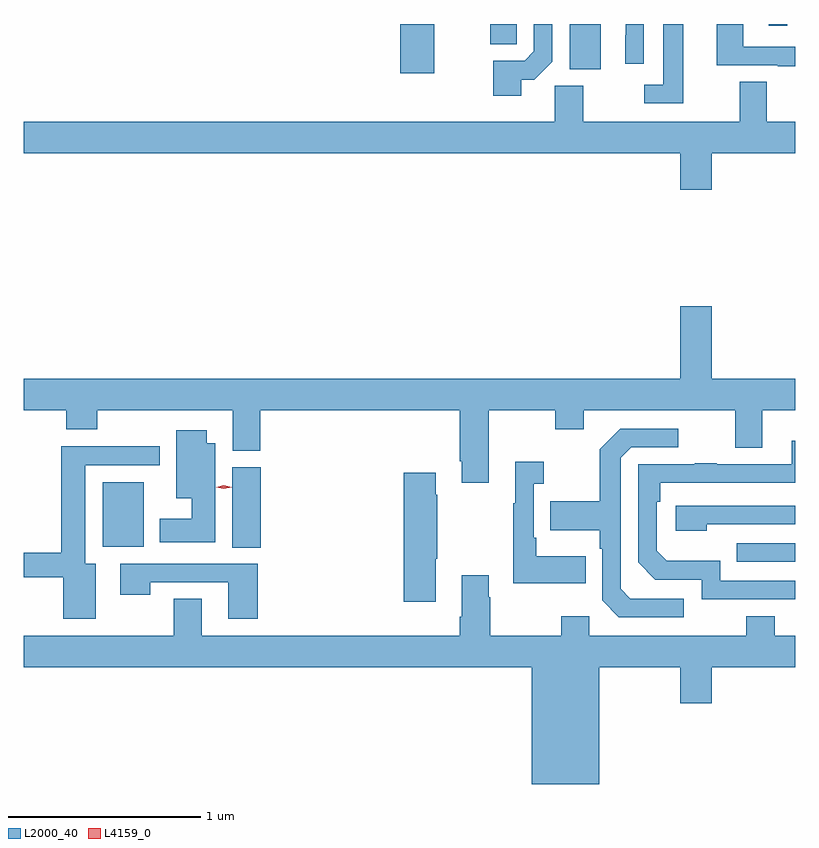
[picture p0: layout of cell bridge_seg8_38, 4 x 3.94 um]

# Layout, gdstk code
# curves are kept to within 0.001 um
import gdstk
lib = gdstk.Library(unit=1e-6, precision=1e-09)
def R(c, l, rs):  # rectangles x0, y0, x1, y1
    for r in rs: c.add(gdstk.rectangle(r[:2], r[2:], *l))
def P(c, l, *ps):  # polygons
    for p in ps: c.add(gdstk.Polygon(p, *l))
L2000_40 = (2000, 40)
L4159_0 = (4159, 0)

bridge_seg8_38 = lib.new_cell('bridge_seg8_38')
R(bridge_seg8_38, L2000_40, [(1076.389,1161.003,1076.693,1161.099), (1073.774,1161.076,1073.921,1161.492), (1073.102,1161.08,1073.314,1161.415), (1074.644,1163.535,1074.822,1163.791), (1075.523,1163.557,1075.684,1163.791), (1075.111,1163.686,1075.248,1163.791), (1076.555,1163.781,1076.652,1163.791)])
P(bridge_seg8_38, L2000_40, [(1076.693,1163.673),(1076.424,1163.673),(1076.424,1163.791),(1076.285,1163.791),(1076.285,1163.577),(1076.603,1163.577),(1076.603,1163.573),(1076.693,1163.573)],
  [(1075.908,1163.791),(1075.814,1163.791),(1075.814,1163.732),(1075.812,1163.732),(1075.812,1163.586),(1075.908,1163.586)],
  [(1075.273,1163.503),(1075.341,1163.503),(1075.434,1163.595),(1075.434,1163.791),(1075.338,1163.791),(1075.338,1163.649),(1075.29,1163.601),(1075.126,1163.601),(1075.126,1163.418),(1075.273,1163.418)],
  [(1076.113,1163.791),(1076.009,1163.791),(1076.009,1163.475),(1075.911,1163.475),(1075.911,1163.379),(1076.113,1163.379)],
  [(1076.26,1163.12),(1076.693,1163.12),(1076.693,1163.284),(1076.545,1163.284),(1076.545,1163.492),(1076.405,1163.492),(1076.405,1163.284),(1075.593,1163.284),(1075.593,1163.472),(1075.446,1163.472),(1075.446,1163.284),(1072.693,1163.284),(1072.693,1163.12),(1076.096,1163.12),(1076.096,1162.932),(1076.26,1162.932)],
  [(1075.105,1161.788),(1075.45,1161.788),(1075.45,1161.689),(1075.597,1161.689),(1075.597,1161.788),(1076.381,1161.788),(1076.381,1161.594),(1076.521,1161.594),(1076.521,1161.788),(1076.693,1161.788),(1076.693,1161.952),(1076.26,1161.952),(1076.26,1162.327),(1076.096,1162.327),(1076.096,1161.952),(1072.693,1161.952),(1072.693,1161.788),(1072.913,1161.788),(1072.913,1161.689),(1073.073,1161.689),(1073.073,1161.788),(1073.777,1161.788),(1073.777,1161.577),(1073.918,1161.577),(1073.918,1161.788),(1074.953,1161.788),(1074.953,1161.523),(1074.965,1161.523),(1074.965,1161.411),(1075.105,1161.411)],
  [(1076.116,1160.811),(1075.839,1160.811),(1075.788,1160.862),(1075.788,1161.543),(1075.842,1161.597),(1076.086,1161.597),(1076.086,1161.693),(1075.785,1161.693),(1075.68,1161.587),(1075.68,1161.315),(1075.423,1161.315),(1075.423,1161.167),(1075.68,1161.167),(1075.68,1161.071),(1075.692,1161.071),(1075.692,1160.802),(1075.779,1160.715),(1076.116,1160.715)],
  [(1073.686,1161.616),(1073.641,1161.616),(1073.641,1161.685),(1073.483,1161.685),(1073.483,1161.332),(1073.564,1161.332),(1073.564,1161.226),(1073.399,1161.226),(1073.399,1161.104),(1073.686,1161.104)],
  [(1076.693,1160.904),(1076.304,1160.904),(1076.304,1161.007),(1076.027,1161.007),(1075.974,1161.06),(1075.974,1161.314),(1075.994,1161.314),(1075.994,1161.411),(1076.693,1161.412),(1076.693,1161.631),(1076.675,1161.631),(1076.675,1161.507),(1076.285,1161.507),(1076.285,1161.512),(1076.173,1161.512),(1076.173,1161.507),(1075.878,1161.507),(1075.878,1161),(1075.968,1160.91),(1076.208,1160.91),(1076.208,1160.808),(1076.693,1160.808)],
  [(1073.065,1160.992),(1073.011,1160.992),(1073.011,1161.504),(1073.398,1161.504),(1073.398,1161.602),(1072.886,1161.602),(1072.886,1161.05),(1072.693,1161.05),(1072.693,1160.922),(1072.898,1160.922),(1072.898,1160.706),(1073.065,1160.706)],
  [(1075.607,1161.031),(1075.351,1161.031),(1075.351,1161.127),(1075.338,1161.127),(1075.338,1161.407),(1075.39,1161.407),(1075.39,1161.52),(1075.241,1161.52),(1075.241,1161.307),(1075.23,1161.307),(1075.23,1160.891),(1075.607,1160.891)],
  [(1074.829,1161.019),(1074.837,1161.019),(1074.837,1161.35),(1074.829,1161.35),(1074.829,1161.463),(1074.662,1161.463),(1074.662,1160.796),(1074.829,1160.796)],
  [(1076.234,1161.198),(1076.693,1161.198),(1076.693,1161.294),(1076.073,1161.294),(1076.073,1161.164),(1076.234,1161.164)],
  [(1073.906,1160.991),(1073.193,1160.991),(1073.193,1160.832),(1073.349,1160.832),(1073.349,1160.895),(1073.753,1160.895),(1073.753,1160.706),(1073.906,1160.706)],
  [(1075.678,1160.456),(1076.096,1160.456),(1076.096,1160.268),(1076.26,1160.268),(1076.26,1160.456),(1076.693,1160.456),(1076.693,1160.62),(1076.587,1160.62),(1076.587,1160.719),(1076.44,1160.719),(1076.44,1160.62),(1075.626,1160.62),(1075.626,1160.719),(1075.48,1160.719),(1075.48,1160.62),(1075.113,1160.62),(1075.113,1160.819),(1075.105,1160.819),(1075.105,1160.932),(1074.965,1160.932),(1074.965,1160.716),(1074.953,1160.716),(1074.953,1160.62),(1073.617,1160.62),(1073.617,1160.81),(1073.47,1160.81),(1073.47,1160.62),(1072.693,1160.62),(1072.693,1160.456),(1075.328,1160.456),(1075.328,1159.85),(1075.678,1159.85)])
P(bridge_seg8_38, L4159_0, [(1073.73,1161.38),(1073.69,1161.39),(1073.69,1161.39),(1073.69,1161.39),(1073.73,1161.4),(1073.77,1161.39),(1073.771,1161.39),(1073.77,1161.39)])

lib.write_gds('bridge_seg8_38.gds')
